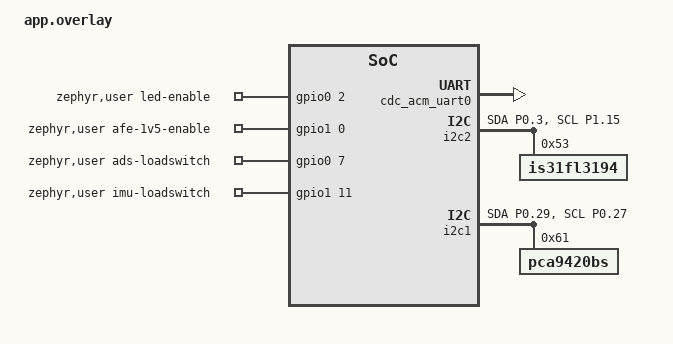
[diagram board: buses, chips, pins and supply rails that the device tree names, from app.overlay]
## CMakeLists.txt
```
#
# Copyright (c) 2022 Nordic Semiconductor
#
# SPDX-License-Identifier: LicenseRef-Nordic-5-Clause
#
cmake_minimum_required(VERSION 3.20.0)

set(CMAKE_CXX_STANDARD 20)
set(CMAKE_CXX_STANDARD_REQUIRED ON)

set(APPLICATION_CONFIG_DIR "${CMAKE_CURRENT_SOURCE_DIR}")

# add_child_image_from_source() in multi_image.cmake creates sub processes running
# cmake to build other images, which might fail to find the Zephyr package if this
# environment variable is not set.
if(NOT DEFINED ENV{ZEPHYR_BASE})
    set(ENV{ZEPHYR_BASE} ${CMAKE_CURRENT_LIST_DIR}/../zephyr)
endif()

if(NOT DEFINED ENV{ZEPHYR_NRF_MODULE_DIR})
    set(ENV{ZEPHYR_NRF_MODULE_DIR} ${CMAKE_CURRENT_LIST_DIR}/../nrf)
    set(ZEPHYR_NRF_MODULE_DIR ${CMAKE_CURRENT_LIST_DIR}/../nrf)
endif()

find_package(Zephyr REQUIRED HINTS $ENV{ZEPHYR_BASE})
project(peripheral_cgms)

target_sources(app PRIVATE
  src/main.cpp
)
```

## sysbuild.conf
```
SB_CONFIG_NETCORE_HCI_IPC=y
SB_CONFIG_NETCORE_APP_UPDATE=n
```

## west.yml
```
manifest:
    self:
        path: l2cap_reproducer

    version: "1.2"

    remotes:
        -   name: nordic
            url-base: https://github.com/nrfconnect

        -   name: robitzki
            url-base: https://github.com/TorstenRobitzki

    projects:
        -   name: sdk-nrf
            description: Nordic SDK
            remote: nordic
            path: nrf
            revision: v2.8.0
            import: true

        -   name: zephyr
            remote: robitzki
            repo-path: sdk-zephyr
            revision: 6f7193b063f4719e7e2cd2e3d690bdcb8d12044b
            import:
                # In addition to the zephyr repository itself, NCS also
                # imports the contents of zephyr/west.yml at the above
                # revision. Only the projects explicitly named in the
                # following allowlist are imported.
                #
                # Note that the zephyr west extensions (like 'build', 'flash',
                # 'debug', etc.) are automatically provided by this import, so
                # there's no need to add a redundant west-commands: key for
                # the zephyr project.
                #
                # Please keep this list sorted alphabetically.
                name-allowlist:
                  - TraceRecorderSource
                  - canopennode
                  - chre
                  - cmsis
                  - cmsis-dsp
                  - cmsis-nn
                  - edtt
                  - fatfs
                  - hal_nordic
                  - hal_st # required for ST sensors (unrelated to STM32 MCUs)
                  - hal_wurthelektronik
                  - hostap
                  - liblc3
                  - libmetal
                  - littlefs
                  - loramac-node
                  - lvgl
                  - lz4
                  - mipi-sys-t
                  - nanopb
                  - net-tools
                  - nrf_hw_models
                  - open-amp
                  - picolibc
                  - segger
                  - tinycrypt
                  - tf-m-tests
                  - uoscore-uedhoc
                  - zcbor
                  - zscilib
```

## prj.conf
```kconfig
# Temporary workaround for https://devzone.nordicsemi.com/f/nordic-q-a/107445/colon-in-soc_cpu_idle-h-leads-to-failing-build-with-arm-none-eabi-gcc-version-12-2
CONFIG_SOC_NRF53_ANOMALY_168_WORKAROUND=n

# drivers/external_pin.cpp is defining the GPIOTE interrupt handler
CONFIG_GPIO_NRFX_INTERRUPT=n

# Enable support for C++
CONFIG_CPP=y
CONFIG_REQUIRES_FULL_LIBCPP=y
CONFIG_NEWLIB_LIBC=y
CONFIG_STD_CPP20=y
CONFIG_DEBUG=y
CONFIG_DEBUG_INFO=y

# When optimization is disabled, nearly all threads in the system need higher sizes
CONFIG_NO_OPTIMIZATIONS=y
CONFIG_DEBUG_THREAD_INFO=y
CONFIG_MAIN_STACK_SIZE=65536
CONFIG_IDLE_STACK_SIZE=4096
CONFIG_SYSTEM_WORKQUEUE_STACK_SIZE=4096
#CONFIG_USB_NRFX_WORK_QUEUE_STACK_SIZE=2048
#CONFIG_USB_WORKQUEUE_STACK_SIZE=2048
CONFIG_BT_RX_STACK_SIZE=4096
CONFIG_IPC_SERVICE_BACKEND_RPMSG_WQ_STACK_SIZE=2048

CONFIG_LOG=y
CONFIG_USE_SEGGER_RTT=y
CONFIG_LOG_BACKEND_RTT=y
CONFIG_LOG_BACKEND_UART=n
CONFIG_LOG_MODE_MINIMAL=n
CONFIG_LOG_PRINTK=y
CONFIG_LOG_MODE_DEFERRED=n
CONFIG_LOG_BUFFER_SIZE=65536
CONFIG_LOG_THREAD_ID_PREFIX=y

# For debugging only!
#CONFIG_LOG_MODE_IMMEDIATE=n
#CONFIG_RESET_ON_FATAL_ERROR=n
CONFIG_ASSERT=y

# Storing configuration values
CONFIG_FLASH=y
CONFIG_NVS=y
# Required to actually use the NVS backend, conflicts with QSPI usage:
# https://devzone.nordicsemi.com/f/nordic-q-a/114760/how-to-configure-settings
CONFIG_FLASH_MAP=y
CONFIG_SETTINGS=y
CONFIG_SETTINGS_NVS=y
CONFIG_NORDIC_QSPI_NOR=n

# Bluetooth
CONFIG_BT=y

CONFIG_BT_PERIPHERAL=y
#CONFIG_BT_PRIVACY=y
CONFIG_BT_DEVICE_NAME="L2CAP Reproducer"
CONFIG_BT_SMP=y
CONFIG_BT_MAX_CONN=1
CONFIG_BT_BUF_ACL_RX_SIZE=502
CONFIG_BT_BUF_ACL_TX_SIZE=502
CONFIG_BT_L2CAP_TX_MTU=498
CONFIG_BT_L2CAP_DYNAMIC_CHANNEL=y
CONFIG_BT_L2CAP_SEG_RECV=y
CONFIG_BT_SETTINGS=y

CONFIG_BT_CGMS=y
CONFIG_SFLOAT=y
```

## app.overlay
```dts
/*
 * Copyright (c) 2021 Nordic Semiconductor ASA
 *
 * SPDX-License-Identifier: Apache-2.0
 */

 &zephyr_udc0 {
    cdc_acm_uart0 {
        compatible = "zephyr,cdc-acm-uart";
    };
};

/ {
    chosen {
        nordic,pm-ext-flash = &mx25r64;
    };
};

/*
   Disable QSPI peripheral, to not get the Zephyr QSPI driver linked in,
   which would clash with drivers/flash_memory.cpp
 */
&qspi {
    status = "disabled";
};

led_i2c: &i2c2 {
    status = "okay";
    compatible = "nordic,nrf-twim";
    pinctrl-0 = <&i2c2_default>;
    pinctrl-1 = <&i2c2_sleep>;
    pinctrl-names = "default", "sleep";

    is31fl3194: is31fl3194@53 {
        status = "okay";
        reg = <0x53>;
    };
};

power_i2c: &i2c1 {
    status = "okay";
    compatible = "nordic,nrf-twim";
    pinctrl-0 = <&i2c1_default>;
    pinctrl-1 = <&i2c1_sleep>;
    pinctrl-names = "default", "sleep";

    pca9420bs: pca9420bs@61 {
        status = "okay";
        reg = <0x61>;
    };
};

&pinctrl {
    i2c2_default: i2c2_default{
        group1 {
            psels = <NRF_PSEL(TWIM_SDA, 0, 3)>,
                    <NRF_PSEL(TWIM_SCL, 1, 15)>;
        };
    };

    i2c2_sleep: i2c2_sleep{
        group1 {
            psels = <NRF_PSEL(TWIM_SDA, 0, 3)>,
                    <NRF_PSEL(TWIM_SCL, 1, 15)>;
            low-power-enable;
        };
    };

    i2c1_default: i2c1_default{
        group1 {
            psels = <NRF_PSEL(TWIM_SDA, 0, 29)>,
                    <NRF_PSEL(TWIM_SCL, 0, 27)>;
        };
    };

    i2c1_sleep: i2c1_sleep{
        group1 {
            psels = <NRF_PSEL(TWIM_SDA, 0, 29)>,
                    <NRF_PSEL(TWIM_SCL, 0, 27)>;
            low-power-enable;
        };
    };
};


/ {
    zephyr,user{
        led-enable-gpios = <&gpio0 2 (GPIO_PUSH_PULL | GPIO_ACTIVE_HIGH)>;
        afe-1v5-enable-gpios = <&gpio1 0 (GPIO_PUSH_PULL | GPIO_ACTIVE_HIGH)>;
        ads-loadswitch-gpios = <&gpio0 7 (GPIO_PUSH_PULL | GPIO_ACTIVE_HIGH)>;
        imu-loadswitch-gpios = <&gpio1 11 (GPIO_PUSH_PULL | GPIO_ACTIVE_HIGH)>;
    };

};

/*
 * GPIO Pins used by the Network core that have to be assigned to the network core
 * by the application core.
 */
&gpio_fwd {
    status = "disabled";
};

&uicr {
    nfct-pins-as-gpios;
};
```

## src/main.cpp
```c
/*
 * Copyright (c) 2022 Nordic Semiconductor ASA
 *
 * SPDX-License-Identifier: LicenseRef-Nordic-5-Clause
 */

#include <zephyr/types.h>
#include <stddef.h>
#include <string.h>
#include <errno.h>
#include <zephyr/sys/printk.h>
#include <zephyr/sys/byteorder.h>
#include <zephyr/kernel.h>
#include <zephyr/settings/settings.h>

#include <zephyr/bluetooth/bluetooth.h>
#include <zephyr/bluetooth/hci.h>
#include <zephyr/bluetooth/conn.h>
#include <zephyr/bluetooth/uuid.h>
#include <zephyr/bluetooth/gatt.h>
#include <zephyr/bluetooth/l2cap.h>
#include <bluetooth/services/cgms.h>
#include <sfloat.h>

#include <zephyr/logging/log.h>

#include <cstdint>
#include <array>

LOG_MODULE_REGISTER(l2cap_reproducer, LOG_LEVEL_DBG);

#define APP_GLUCOSE_MIN    88
#define APP_GLUCOSE_MAX    92
#define APP_GLUCOSE_STEP   0.1f

static bool session_state;

static const struct bt_data ad[] = {
	BT_DATA_BYTES(BT_DATA_FLAGS, (BT_LE_AD_GENERAL | BT_LE_AD_NO_BREDR)),
	BT_DATA_BYTES(BT_DATA_UUID16_ALL,
				BT_UUID_16_ENCODE(BT_UUID_CGMS_VAL),
				BT_UUID_16_ENCODE(BT_UUID_DIS_VAL)),
};

static const struct bt_data sd[] = {
	BT_DATA(BT_DATA_NAME_COMPLETE, CONFIG_BT_DEVICE_NAME, sizeof(CONFIG_BT_DEVICE_NAME) - 1),
};

static void connected(struct bt_conn *conn, uint8_t err)
{
	char addr[BT_ADDR_LE_STR_LEN];

	bt_addr_le_to_str(bt_conn_get_dst(conn), addr, sizeof(addr));
	if (err) {
		printk("Failed to connect to %s, err 0x%02x %s\n", addr, err,
		       bt_hci_err_to_str(err));
	} else {
		printk("Connected %s\n", addr);
	}
}

static void disconnected(struct bt_conn *conn, uint8_t reason)
{
	char addr[BT_ADDR_LE_STR_LEN];

	bt_addr_le_to_str(bt_conn_get_dst(conn), addr, sizeof(addr));
	printk("Disconnected from %s, reason 0x%02x %s\n", addr, reason, bt_hci_err_to_str(reason));
}

static void security_changed(struct bt_conn *conn, bt_security_t level, enum bt_security_err err)
{
	char addr[BT_ADDR_LE_STR_LEN];

	bt_addr_le_to_str(bt_conn_get_dst(conn), addr, sizeof(addr));
	if (!err) {
		printk("Security changed: %s level %u\n", addr, level);
	} else {
		printk("Security failed: %s level %u err %d %s\n", addr, level, err,
		       bt_security_err_to_str(err));
	}
}

BT_CONN_CB_DEFINE(conn_callbacks) = {
	.connected = connected,
	.disconnected = disconnected,
	.security_changed = security_changed,
};

static void auth_cancel(struct bt_conn *conn)
{
	char addr[BT_ADDR_LE_STR_LEN];

	bt_addr_le_to_str(bt_conn_get_dst(conn), addr, sizeof(addr));

	printk("Pairing cancelled: %s\n", addr);
}

static void auth_passkey_display(struct bt_conn *conn, unsigned int passkey)
{
	printk("Pairing key is %06d.\n", passkey);
}

static struct bt_conn_auth_cb auth_cb_display = {
	.passkey_display = auth_passkey_display,
	.cancel = auth_cancel,
};

static void cgms_session_state_changed(const bool state)
{
	session_state = state;
	if (state) {
		printk("Session starts.\n");
	} else {
		printk("Session stops.\n");
	}
}

static bt_l2cap_chan* l2cap_channel_ = nullptr;

static const std::uint8_t random_data[ 4 * 1024 ] = { 1, 2, 3, 4, 5, 6, 7 };

static bool is_connected = false;

namespace pool {
NET_BUF_POOL_FIXED_DEFINE(
    mqtt_sn_messages_over_l2cap,
    5,
    std::size( random_data ) + BT_L2CAP_SDU_CHAN_SEND_RESERVE,
    CONFIG_BT_CONN_TX_USER_DATA_SIZE, NULL);
}

static void try_send_random_stuff()
{
	if ( is_connected && l2cap_channel_ )
	{
        net_buf * const buf = net_buf_alloc_fixed(
            &pool::mqtt_sn_messages_over_l2cap, K_FOREVER);

        if ( !buf )
        {
            return;
        }

        const std::size_t max_message_size = BT_L2CAP_LE_CHAN(l2cap_channel_)->tx.mtu;
        const std::size_t transmit_size = std::min< std::size_t >( max_message_size, std::size( random_data ) );

        net_buf_reserve(buf, BT_L2CAP_SDU_CHAN_SEND_RESERVE);
        net_buf_add_mem(buf, random_data, transmit_size);

        const int rc = bt_l2cap_chan_send(l2cap_channel_, buf);

        if (rc < 0) {
            net_buf_unref(buf);
            return;
        }

        assert( rc == 0 || rc == -ENOTCONN );
	}
}

static void init_l2cap()
{
    static bt_conn_cb bt_conn_callbacks = {
        .connected = [](struct bt_conn *conn, uint8_t err) -> void {
        	is_connected = true;
            LOG_INF("connected: %d", (int)err);
        },
        .disconnected = [](struct bt_conn *conn, uint8_t reason) -> void {
        	is_connected = false;
            LOG_INF("disconnected: %d", (int)reason);
        }
    };

    [[maybe_unused]] const int bt_cb_rc = bt_conn_cb_register(&bt_conn_callbacks);
    assert( bt_cb_rc == 0 );

    static bt_gatt_cb gatt_callbacks = {
        .att_mtu_updated = [](struct bt_conn *, uint16_t tx, uint16_t rx)
        {
            LOG_INF("Updated MTU: TX: %d RX: %d bytes", tx, rx);
        }
    };

    bt_gatt_cb_register(&gatt_callbacks);

    static bt_l2cap_server l2cap_channel = {
        .psm = 0,
        // TODO
        .sec_level = BT_SECURITY_L1, //BT_SECURITY_L4,
        .accept = [](struct bt_conn* conn, struct bt_l2cap_server* /*server*/, struct bt_l2cap_chan **chan) -> int
        {
            static const bt_l2cap_chan_ops channel_callbacks = {
                .connected = [](struct bt_l2cap_chan */*chan*/)
                {
                    LOG_INF("incomming L2CAP connection...");
					try_send_random_stuff();
					try_send_random_stuff();
					try_send_random_stuff();
					try_send_random_stuff();
					try_send_random_stuff();
					try_send_random_stuff();
                },
                .disconnected = nullptr,
                .encrypt_change = nullptr,
                .alloc_seg = nullptr,
                .alloc_buf = nullptr,
                .recv = [](struct bt_l2cap_chan */*chan*/, struct net_buf *buf) -> int {
                    return buf->len;
                },
                .sent = [](struct bt_l2cap_chan */*chan*/){
                	// make sure, some send attempts will fail
					try_send_random_stuff();
					try_send_random_stuff();
                },
                .status = nullptr,
                .released = nullptr,
                .reconfigured = nullptr,
                .seg_recv = nullptr
            };

            /*
             * !!! The caller is not expecting to have a bt_l2cap_chan
             * beeing returned, but a bt_l2cap_le_chan that contains a
             * bt_l2cap_chan (poor mans inheritance)
             */
            static bt_l2cap_le_chan channel = {
                .chan = {
                    .conn = conn,
                    .ops  = &channel_callbacks
                }
             };

            l2cap_channel_ = &channel.chan;
            *chan = &channel.chan;
            return 0;
        }
    };

    [[maybe_unused]] const int l2cap_channel_rc = bt_l2cap_server_register( &l2cap_channel );
    LOG_ERR( "l2cap_channel_rc: %d", l2cap_channel_rc);
    assert( l2cap_channel_rc == 0 );
    LOG_INF( "psm: %d", (int)l2cap_channel.psm );
}

int main(void)
{
	int err;
	const uint8_t measurement_interval = 1; /* time in minutes. */
	/* The time it will try to submit a record if last attempt fails. */
	const uint8_t retry_count = 3;
	/* The time interval between two attempts. Unit is second. */
	const uint8_t retry_interval = 1;
	float glucose = APP_GLUCOSE_MIN;
	struct bt_cgms_measurement result;
	struct bt_cgms_cb cb;
	struct bt_cgms_init_param params;

	printk("Starting Bluetooth Peripheral CGM example\n");

	bt_conn_auth_cb_register(&auth_cb_display);

	err = bt_enable(NULL);
	if (err) {
		printk("Bluetooth init failed (err %d)\n", err);
		return 0;
	}

	printk("Bluetooth initialized\n");

	if (IS_ENABLED(CONFIG_SETTINGS)) {
		settings_load();
	}

	init_l2cap();

	params.type = BT_CGMS_FEAT_TYPE_CAP_PLASMA;
	params.sample_location = BT_CGMS_FEAT_LOC_FINGER;
	/* The session will run 1 hour */
	params.session_run_time = 1;
	/* The initial communication interval will be 5 minutes */
	params.initial_comm_interval = 5;

	cb.session_state_changed = cgms_session_state_changed;
	params.cb = &cb;

	err = bt_cgms_init(&params);
	if (err) {
		printk("Error occurred when initializing cgm service (err %d)\n", err);
		return 0;
	}
	err = bt_le_adv_start(BT_LE_ADV_CONN, ad, ARRAY_SIZE(ad), sd, ARRAY_SIZE(sd));
	if (err) {
		printk("Advertising failed to start (err %d)\n", err);
		return 0;
	}

	printk("Advertising successfully started\n");
	/* Submit the measured glucose result in main loop. */
	while (1) {
		if (session_state) {
			/* Users can implement the routine that gets the glucose measurement.
			 * Here, we use dummy glucose results, which increase from APP_GLUCOSE_MIN
			 * to APP_GLUCOSE_MAX, with step of APP_GLUCOSE_STEP.
			 */
			glucose += APP_GLUCOSE_STEP;
			if (glucose > APP_GLUCOSE_MAX) {
				glucose = APP_GLUCOSE_MIN;
			}
			result.glucose = sfloat_from_float(glucose);

			/* Check return value. If it is error code, which means submission
			 * to database fails, retry until it reaches limit.
			 */
			for (int i = 0; i < retry_count; i++) {
				err = bt_cgms_measurement_add(result);
				if (err == 0) {
					break;
				}
				k_sleep(K_SECONDS(retry_interval));
			}
			if (err < 0) {
				printk("Cannot submit measurement result. Record discarded.\n");
			}
		}
		/* Sleep until next sampling time arrives. */
		k_sleep(K_MINUTES(measurement_interval));
	}
}
```
